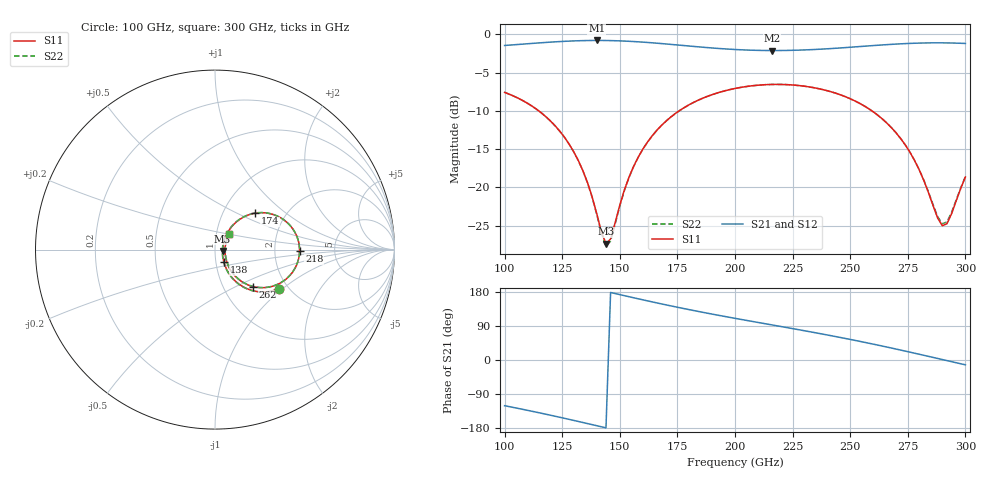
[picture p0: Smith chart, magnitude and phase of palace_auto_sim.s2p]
#  GHZ S DB R 50
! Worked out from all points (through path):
!   101 points, 100 GHz to 300 GHz, reference 50 ohm
!   highest |S21| = -0.79 dB at 140 GHz (marker M1); lowest = -2.1 dB at 216 GHz (marker M2)
!   group delay of S21, straight-line fit = 3.42 ps
!   lowest |S11| = -27.3 dB at 144 GHz (marker M3), VSWR 1.09, Z = 54.4 - j0.778 ohm
!   |S11| at or under -10 dB: 114.8 GHz to 175.7 GHz (60.9 GHz wide, 41.9 % of centre); 259.4 GHz to end of sweep
!   |S22| runs from -27.7 to -6.5 dB; largest |S21 - S12| = 1e-13
!   S11 on the Smith chart (normalised r, x): 100 GHz: 1.79, -0.94; 138 GHz: 1.09, -0.16; 174 GHz: 1.42, +0.63; 218 GHz: 2.78, -0.05; 262 GHz: 1.38, -0.62; 300 GHz: 1.15, +0.20
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100  -7.58 -31.4  -1.45 -120.6  -1.45 -120.6  -7.58 -31.5
120  -11.34 -51.8  -1.01 -145.8  -1.01 -145.8  -11.35 -52.1
134  -17.82 -59.5  -0.82 -165.0  -0.82 -165.0  -17.84 -60.2
138  -21.24 -54.7  -0.80 -170.6  -0.80 -170.6  -21.31 -55.7
140  -23.43 -47.6  -0.79 -173.4  -0.79 -173.4  -23.54 -48.8
144  -27.35 -9.6  -0.80 -179.0  -0.80 -179.0  -27.67 -10.1
146  -26.73 17.9  -0.81 178.2  -0.81 178.2  -27.02 18.5
152  -20.32 51.2  -0.87 169.8  -0.87 169.8  -20.39 52.0
156  -17.24 54.1  -0.94 164.2  -0.94 164.2  -17.28 54.7
168  -11.92 47.5  -1.20 148.2  -1.20 148.2  -11.93 47.9
174  -10.36 42.0  -1.36 140.5  -1.36 140.5  -10.37 42.3
200  -7.07 16.6  -1.97 110.0  -1.97 110.0  -7.07 16.8
216  -6.54 1.1  -2.11 92.6  -2.11 92.6  -6.54 1.2
218  -6.53 -0.9  -2.11 90.5  -2.11 90.5  -6.54 -0.7
234  -6.96 -16.6  -1.98 72.9  -1.98 72.9  -6.96 -16.4
248  -8.15 -30.5  -1.73 56.7  -1.73 56.7  -8.15 -30.4
262  -10.57 -44.1  -1.42 39.3  -1.42 39.3  -10.56 -43.9
268  -12.22 -49.2  -1.30 31.4  -1.30 31.4  -12.21 -48.9
278  -16.51 -53.1  -1.16 17.9  -1.16 17.9  -16.48 -52.6
290  -25.00 -7.6  -1.11 1.2  -1.11 1.2  -24.75 -7.4
292  -24.74 12.2  -1.12 -1.6  -1.12 -1.6  -24.50 11.8
300  -18.64 47.9  -1.19 -12.7  -1.19 -12.7  -18.57 47.1
